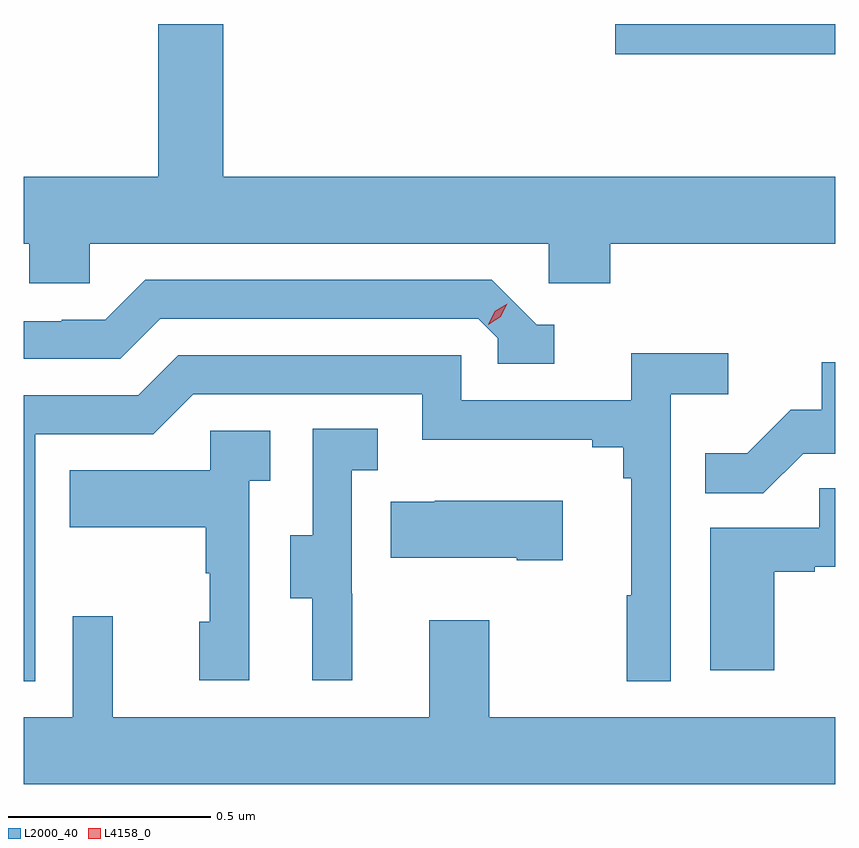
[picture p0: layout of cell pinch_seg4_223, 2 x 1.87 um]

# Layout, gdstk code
import gdstk
lib = gdstk.Library(unit=1e-6, precision=1e-09)
def R(c, l, rs):  # rectangles x0, y0, x1, y1
    for r in rs: c.add(gdstk.rectangle(r[:2], r[2:], *l))
def P(c, l, *ps):  # polygons
    for p in ps: c.add(gdstk.Polygon(p, *l))
L2000_40 = (2000, 40)
L4158_0 = (4158, 0)

pinch_seg4_223 = lib.new_cell('pinch_seg4_223')
R(pinch_seg4_223, L2000_40, [(988.508,831.918,989.05,831.993)])
P(pinch_seg4_223, L2000_40, [(987.213,831.452),(988.344,831.452),(988.344,831.354),(988.496,831.354),(988.496,831.452),(989.05,831.452),(989.05,831.616),(987.542,831.616),(987.542,831.993),(987.382,831.993),(987.382,831.616),(987.05,831.616),(987.05,831.452),(987.063,831.452),(987.063,831.354),(987.213,831.354)],
  [(988.357,831.252),(988.314,831.252),(988.203,831.363),(987.35,831.363),(987.251,831.264),(987.144,831.264),(987.144,831.261),(987.05,831.261),(987.05,831.168),(987.288,831.168),(987.387,831.267),(988.17,831.267),(988.218,831.219),(988.218,831.156),(988.357,831.156)],
  [(987.078,830.982),(987.369,830.982),(987.468,831.081),(988.032,831.081),(988.032,830.969),(988.451,830.969),(988.451,830.95),(988.528,830.95),(988.528,830.873),(988.547,830.873),(988.547,830.585),(988.536,830.585),(988.536,830.373),(988.644,830.373),(988.644,831.08),(988.786,831.08),(988.786,831.182),(988.547,831.182),(988.547,831.066),(988.128,831.066),(988.128,831.177),(987.431,831.177),(987.332,831.078),(987.05,831.078),(987.05,830.373),(987.078,830.373)],
  [(988.971,830.934),(989.05,830.934),(989.05,831.159),(989.017,831.159),(989.017,831.042),(988.94,831.042),(988.833,830.935),(988.729,830.935),(988.729,830.836),(988.873,830.836)],
  [(987.86,830.589),(987.858,830.589),(987.858,830.893),(987.922,830.893),(987.922,830.996),(987.762,830.996),(987.762,830.733),(987.707,830.733),(987.707,830.578),(987.761,830.578),(987.761,830.376),(987.86,830.376)],
  [(987.606,830.867),(987.658,830.867),(987.658,830.991),(987.51,830.991),(987.51,830.893),(987.163,830.893),(987.163,830.753),(987.498,830.753),(987.498,830.639),(987.508,830.639),(987.508,830.52),(987.482,830.52),(987.482,830.376),(987.606,830.376)],
  [(988.9,830.643),(989,830.643),(989,830.655),(989.05,830.655),(989.05,830.849),(989.011,830.849),(989.011,830.751),(988.742,830.751),(988.742,830.4),(988.9,830.4)],
  [(988.378,830.818),(988.063,830.818),(988.063,830.815),(987.955,830.815),(987.955,830.678),(988.265,830.678),(988.265,830.671),(988.378,830.671)],
  [(989.05,830.284),(988.197,830.284),(988.197,830.524),(988.049,830.524),(988.049,830.284),(987.269,830.284),(987.269,830.533),(987.171,830.533),(987.171,830.284),(987.05,830.284),(987.05,830.12),(989.05,830.12)])
P(pinch_seg4_223, L4158_0, [(988.195,831.252),(988.195,831.252),(988.211,831.285),(988.242,831.304),(988.242,831.304),(988.242,831.304),(988.226,831.271),(988.195,831.252)])

lib.write_gds('pinch_seg4_223.gds')
